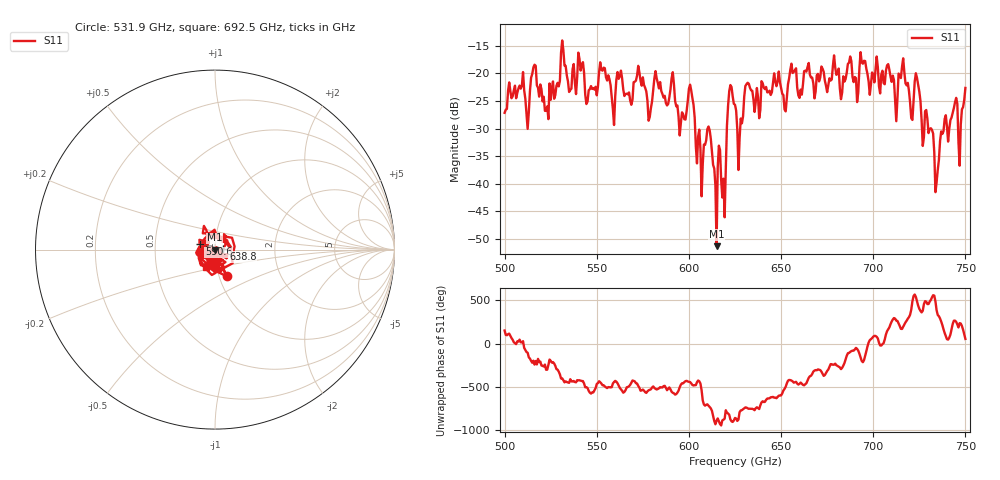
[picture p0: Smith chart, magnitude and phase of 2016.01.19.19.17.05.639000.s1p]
!Created with skrf (http://scikit-rf.org).
# GHz S RI R 50.0
!freq ReS11 ImS11
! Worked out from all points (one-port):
!   401 points, 500 GHz to 750 GHz, reference 50 ohm
!   lowest |S11| = -51.3 dB at 615 GHz (marker M1), VSWR 1.01, Z = 49.7 - j0.0196 ohm
!   |S11| at or under -10 dB: start of sweep to end of sweep
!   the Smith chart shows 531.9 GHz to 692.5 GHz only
!   S11 on the Smith chart (normalised r, x): 531.9 GHz: 1.09, -0.33; 590.6 GHz: 0.84, +0.05; 638.8 GHz: 1.10, +0.01; 692.5 GHz: 0.88, -0.18
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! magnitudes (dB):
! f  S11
! 500 GHz  -27.1
! 512.5 GHz  -30.0
! 515.6 GHz  -18.9
! 522.5 GHz  -26.8
! 531.2 GHz  -14.0
! 531.9 GHz  -15.8
! 545 GHz  -25.1
! 562.5 GHz  -20.5
! 578.8 GHz  -27.9
! 590.6 GHz  -20.8
! 593.8 GHz  -25.8
! 601.2 GHz  -23.1
! 605.6 GHz  -30.2
! 610.6 GHz  -29.6
! 615 GHz  -51.3
! 618.8 GHz  -39.1
! 622.5 GHz  -22.1
! 625 GHz  -25.7
! 627.5 GHz  -31.7
! 631.2 GHz  -21.9
! 638.8 GHz  -26.6
! 656.2 GHz  -19.9
! 687.5 GHz  -16.9
! 692.5 GHz  -19.1
! 718.8 GHz  -21.7
! 723.8 GHz  -20.8
! 734.4 GHz  -39.8
! 750 GHz  -22.6
